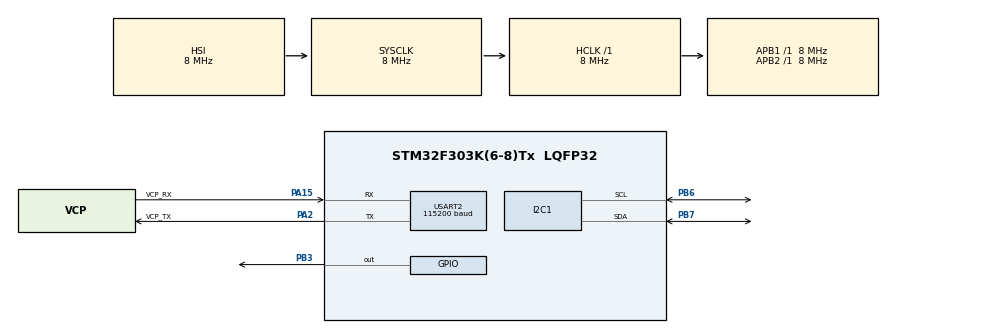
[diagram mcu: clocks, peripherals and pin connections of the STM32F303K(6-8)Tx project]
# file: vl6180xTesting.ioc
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Mcu.Family=STM32F3
Mcu.Name=STM32F303K(6-8)Tx
Mcu.Package=LQFP32
NVIC.PriorityGroup=NVIC_PRIORITYGROUP_4
PA13.GPIO_Label=SWDIO
PA13.Mode=Serial_Wire
PA13.Signal=SYS_JTMS-SWDIO
PA14.GPIO_Label=SWCLK
PA14.Mode=Serial_Wire
PA14.Signal=SYS_JTCK-SWCLK
PA15.GPIO_Label=VCP_RX
PA15.Mode=Asynchronous
PA15.Signal=USART2_RX
PA2.GPIO_Label=VCP_TX
PA2.Mode=Asynchronous
PA2.Signal=USART2_TX
PB3.Signal=GPIO_Output
PB6.Mode=I2C
PB6.Signal=I2C1_SCL
PB7.Mode=I2C
PB7.Signal=I2C1_SDA
PF0\ /\ OSC_IN.GPIO_Label=MCO
PF0\ /\ OSC_IN.Mode=HSE-External-Clock-Source
PF0\ /\ OSC_IN.Signal=RCC_OSC_IN
ProjectManager.HeapSize=0x200
ProjectManager.StackSize=0x400
ProjectManager.TargetToolchain=STM32CubeIDE
RCC.AHBFreq_Value=8000000
RCC.APB1Freq_Value=8000000
RCC.APB2Freq_Value=8000000
RCC.CortexFreq_Value=8000000
RCC.HSE_VALUE=8000000
RCC.HSI_VALUE=8000000
RCC.SYSCLKFreq_VALUE=8000000
USART2.BaudRate=115200
USART2.VirtualMode-Asynchronous=VM_ASYNC
board=NUCLEO-F303K8

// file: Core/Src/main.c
/* USER CODE BEGIN Header */
/**
  ******************************************************************************
  * @file           : main.c
  * @brief          : Main program body
  ******************************************************************************
  * @attention
  *
  * Copyright (c) 2023 STMicroelectronics.
  * All rights reserved.
  *
  * This software is licensed under terms that can be found in the LICENSE file
  * in the root directory of this software component.
  * If no LICENSE file comes with this software, it is provided AS-IS.
  *
  ******************************************************************************
  */
/* USER CODE END Header */
#include "main.h"

/* USER CODE BEGIN Includes */
#include "vl6180x_api.h"
#include <vl6180x_def.h>
#include <stdio.h>
#include <stdint.h>
/* USER CODE END Includes */

I2C_HandleTypeDef hi2c1;

UART_HandleTypeDef huart2;

void SystemClock_Config(void);
static void MX_GPIO_Init(void);
static void MX_USART2_UART_Init(void);
static void MX_I2C1_Init(void);

/* USER CODE BEGIN 0 */
HAL_StatusTypeDef HAL_I2C_Master_Transmit(I2C_HandleTypeDef *hi2c1,
										  uint16_t DevAddress,
										  uint8_t *pData,
										  uint16_t Size,
										  uint32_t Timeout);
//////////////////////やんないといけないとこ↓
int  VL6180x_I2CWrite(VL6180xDev_t dev, uint8_t  *buff, uint8_t len){
	HAL_I2C_Master_Transmit(&hi2c1, dev, buff, len , 1000);
	return 0;
}

int VL6180x_I2CRead(VL6180xDev_t dev, uint8_t *buff, uint8_t len){
	HAL_I2C_Master_Receive(&hi2c1, dev, buff, len, 1000);
	return 0;
}
//////////////////////

/* USER CODE END 0 */

int main(void)
{
  /* USER CODE BEGIN 1 */
	setbuf(stdout, NULL);
  /* USER CODE END 1 */

  /* MCU Configuration--------------------------------------------------------*/

  /* Reset of all peripherals, Initializes the Flash interface and the Systick. */
  HAL_Init();

  /* USER CODE BEGIN Init */
   MX_GPIO_Init();
   MX_USART2_UART_Init();
   MX_I2C1_Init();
  /* USER CODE END Init */

  /* Configure the system clock */
  SystemClock_Config();

  /* Initialize all configured peripherals */
  MX_GPIO_Init();
  MX_USART2_UART_Init();
  MX_I2C1_Init();
  /* USER CODE BEGIN 2 */
  int i;
  for (i = 1; i <= 5; i++){//シリアルモニタ接続待機5秒
	  HAL_GPIO_TogglePin(GPIOB, GPIO_PIN_3);
	  HAL_Delay(1000);
	  printf("Waiting ...\r\n");
  }
  printf("Setting up ...\r\n");

  VL6180xDev_t myDev = 0x52;
  VL6180x_RangeData_t Range;

  VL6180x_InitData(myDev);
  int j = VL6180x_InitData(myDev);
  printf("VL6180x_InitData status : %d.\r\n", j);
  VL6180x_Prepare(myDev);
  int k = VL6180x_Prepare(myDev);
  printf("VL6180x_Prepare status : %d.\r\n", k);
  printf("Finished.\r\n");
  /* USER CODE END 2 */

  /* Infinite loop */
  while (1){

    /* USER CODE BEGIN 3 */
	  HAL_GPIO_TogglePin(GPIOB, GPIO_PIN_3);
	  HAL_Delay(500);
	  HAL_GPIO_TogglePin(GPIOB, GPIO_PIN_3);
	  HAL_Delay(500);
	  printf("Polling -> ");
	  VL6180x_RangePollMeasurement(myDev, &Range);
	  if (Range.errorStatus == 0 ){
		  printf("%d mm\r\n", Range.range_mm); // your code display range in mm
	  }else{
		  printf("Failed to get distance\r\n"); // your code display error code
	  }
  }
  /* USER CODE END 3 */
}

void SystemClock_Config(void)
{
  RCC_OscInitTypeDef RCC_OscInitStruct = {0};
  RCC_ClkInitTypeDef RCC_ClkInitStruct = {0};
  RCC_PeriphCLKInitTypeDef PeriphClkInit = {0};

  /** Initializes the RCC Oscillators according to the specified parameters
  * in the RCC_OscInitTypeDef structure.
  */
  RCC_OscInitStruct.OscillatorType = RCC_OSCILLATORTYPE_HSI;
  RCC_OscInitStruct.HSIState = RCC_HSI_ON;
  RCC_OscInitStruct.HSICalibrationValue = RCC_HSICALIBRATION_DEFAULT;
  RCC_OscInitStruct.PLL.PLLState = RCC_PLL_NONE;
  if (HAL_RCC_OscConfig(&RCC_OscInitStruct) != HAL_OK)
  {
    Error_Handler();
  }

  /** Initializes the CPU, AHB and APB buses clocks
  */
  RCC_ClkInitStruct.ClockType = RCC_CLOCKTYPE_HCLK|RCC_CLOCKTYPE_SYSCLK
                              |RCC_CLOCKTYPE_PCLK1|RCC_CLOCKTYPE_PCLK2;
  RCC_ClkInitStruct.SYSCLKSource = RCC_SYSCLKSOURCE_HSI;
  RCC_ClkInitStruct.AHBCLKDivider = RCC_SYSCLK_DIV1;
  RCC_ClkInitStruct.APB1CLKDivider = RCC_HCLK_DIV1;
  RCC_ClkInitStruct.APB2CLKDivider = RCC_HCLK_DIV1;

  if (HAL_RCC_ClockConfig(&RCC_ClkInitStruct, FLASH_LATENCY_0) != HAL_OK)
  {
    Error_Handler();
  }
  PeriphClkInit.PeriphClockSelection = RCC_PERIPHCLK_I2C1;
  PeriphClkInit.I2c1ClockSelection = RCC_I2C1CLKSOURCE_HSI;
  if (HAL_RCCEx_PeriphCLKConfig(&PeriphClkInit) != HAL_OK)
  {
    Error_Handler();
  }
}

static void MX_I2C1_Init(void)
{

  hi2c1.Instance = I2C1;
  hi2c1.Init.Timing = 0x2000090E;
  hi2c1.Init.OwnAddress1 = 0;
  hi2c1.Init.AddressingMode = I2C_ADDRESSINGMODE_7BIT;
  hi2c1.Init.DualAddressMode = I2C_DUALADDRESS_DISABLE;
  hi2c1.Init.OwnAddress2 = 0;
  hi2c1.Init.OwnAddress2Masks = I2C_OA2_NOMASK;
  hi2c1.Init.GeneralCallMode = I2C_GENERALCALL_DISABLE;
  hi2c1.Init.NoStretchMode = I2C_NOSTRETCH_DISABLE;
  if (HAL_I2C_Init(&hi2c1) != HAL_OK)
  {
    Error_Handler();
  }

  /** Configure Analogue filter
  */
  if (HAL_I2CEx_ConfigAnalogFilter(&hi2c1, I2C_ANALOGFILTER_ENABLE) != HAL_OK)
  {
    Error_Handler();
  }

  /** Configure Digital filter
  */
  if (HAL_I2CEx_ConfigDigitalFilter(&hi2c1, 0) != HAL_OK)
  {
    Error_Handler();
  }

}

static void MX_USART2_UART_Init(void)
{

  huart2.Instance = USART2;
  huart2.Init.BaudRate = 115200;
  huart2.Init.WordLength = UART_WORDLENGTH_8B;
  huart2.Init.StopBits = UART_STOPBITS_1;
  huart2.Init.Parity = UART_PARITY_NONE;
  huart2.Init.Mode = UART_MODE_TX_RX;
  huart2.Init.HwFlowCtl = UART_HWCONTROL_NONE;
  huart2.Init.OverSampling = UART_OVERSAMPLING_16;
  huart2.Init.OneBitSampling = UART_ONE_BIT_SAMPLE_DISABLE;
  huart2.AdvancedInit.AdvFeatureInit = UART_ADVFEATURE_NO_INIT;
  if (HAL_UART_Init(&huart2) != HAL_OK)
  {
    Error_Handler();
  }

}

static void MX_GPIO_Init(void)
{
  GPIO_InitTypeDef GPIO_InitStruct = {0};

  /* GPIO Ports Clock Enable */
  __HAL_RCC_GPIOF_CLK_ENABLE();
  __HAL_RCC_GPIOA_CLK_ENABLE();
  __HAL_RCC_GPIOB_CLK_ENABLE();

  /*Configure GPIO pin Output Level */
  HAL_GPIO_WritePin(GPIOB, GPIO_PIN_3, GPIO_PIN_RESET);

  /*Configure GPIO pin : PB3 */
  GPIO_InitStruct.Pin = GPIO_PIN_3;
  GPIO_InitStruct.Mode = GPIO_MODE_OUTPUT_PP;
  GPIO_InitStruct.Pull = GPIO_NOPULL;
  GPIO_InitStruct.Speed = GPIO_SPEED_FREQ_LOW;
  HAL_GPIO_Init(GPIOB, &GPIO_InitStruct);

}

/* USER CODE BEGIN 4 */
int _write(int file, char *ptr, int len)
{
  HAL_UART_Transmit(&huart2,(uint8_t *)ptr,len,10);
  return len;
}
/* USER CODE END 4 */

void Error_Handler(void)
{
  __disable_irq();
  while (1)
  {
  }
}
